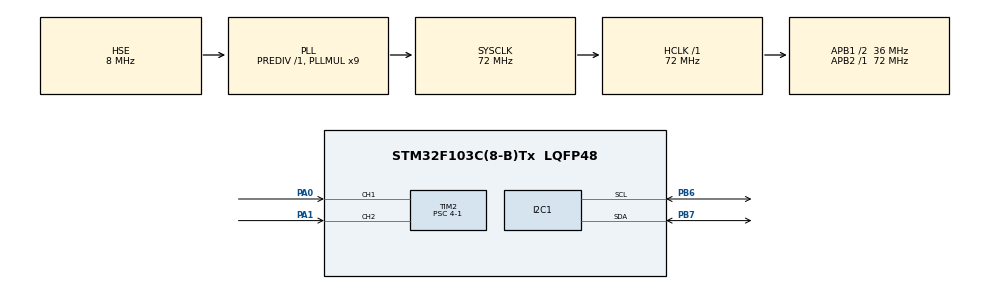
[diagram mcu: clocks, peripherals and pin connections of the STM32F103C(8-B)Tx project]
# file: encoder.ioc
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Mcu.Family=STM32F1
Mcu.Name=STM32F103C(8-B)Tx
Mcu.Package=LQFP48
NVIC.PriorityGroup=NVIC_PRIORITYGROUP_4
PA0-WKUP.GPIO_PuPd=GPIO_PULLUP
PA0-WKUP.Signal=S_TIM2_CH1_ETR
PA1.GPIO_PuPd=GPIO_PULLUP
PA1.Signal=S_TIM2_CH2
PA13.Mode=Serial_Wire
PA13.Signal=SYS_JTMS-SWDIO
PA14.Mode=Serial_Wire
PA14.Signal=SYS_JTCK-SWCLK
PB6.Mode=I2C
PB6.Signal=I2C1_SCL
PB7.Mode=I2C
PB7.Signal=I2C1_SDA
PD0-OSC_IN.Mode=HSE-External-Oscillator
PD0-OSC_IN.Signal=RCC_OSC_IN
PD1-OSC_OUT.Mode=HSE-External-Oscillator
PD1-OSC_OUT.Signal=RCC_OSC_OUT
ProjectManager.HeapSize=0x200
ProjectManager.StackSize=0x400
ProjectManager.TargetToolchain=SW4STM32
RCC.AHBFreq_Value=72000000
RCC.APB1CLKDivider=RCC_HCLK_DIV2
RCC.APB1Freq_Value=36000000
RCC.APB1TimFreq_Value=72000000
RCC.APB2Freq_Value=72000000
RCC.APB2TimFreq_Value=72000000
RCC.HCLKFreq_Value=72000000
RCC.PLLMUL=RCC_PLL_MUL9
RCC.PLLSourceVirtual=RCC_PLLSOURCE_HSE
RCC.SYSCLKFreq_VALUE=72000000
RCC.SYSCLKSource=RCC_SYSCLKSOURCE_PLLCLK
RCC.USBFreq_Value=72000000
SH.S_TIM2_CH1_ETR.0=TIM2_CH1,Encoder_Interface
SH.S_TIM2_CH2.0=TIM2_CH2,Encoder_Interface
TIM2.EncoderMode=TIM_ENCODERMODE_TI12
TIM2.Period=0xffff
TIM2.Prescaler=4-1
board=custom

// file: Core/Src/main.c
/* USER CODE BEGIN Header */
/**
  ******************************************************************************
  * @file           : main.c
  * @brief          : Main program body
  ******************************************************************************
  * @attention
  *
  * <h2><center>&copy; Copyright (c) 2021 STMicroelectronics.
  * All rights reserved.</center></h2>
  *
  * This software component is licensed by ST under BSD 3-Clause license,
  * the "License"; You may not use this file except in compliance with the
  * License. You may obtain a copy of the License at:
  *                        opensource.org/licenses/BSD-3-Clause
  *
  ******************************************************************************
  */
/* USER CODE END Header */
#include <stdio.h>
#include "main.h"
#include "i2c.h"
#include "tim.h"
#include "gpio.h"

/* USER CODE BEGIN Includes */
#include "u8g2.h"
#include "oled_init.h"
/* USER CODE END Includes */

void SystemClock_Config(void);

int main(void) {
    /* USER CODE BEGIN 1 */
    uint32_t enc1;
    u8g2_t u8g2;
    uint8_t dir;
    char str[50];
    /* USER CODE END 1 */

    /* MCU Configuration--------------------------------------------------------*/

    /* Reset of all peripherals, Initializes the Flash interface and the Systick. */
    HAL_Init();

    /* Configure the system clock */
    SystemClock_Config();

    /* Initialize all configured peripherals */
    MX_GPIO_Init();
    MX_TIM2_Init();
    MX_I2C1_Init();
    /* USER CODE BEGIN 2 */
    u8g2Init(&u8g2);
    HAL_TIM_Encoder_Start(&htim2, TIM_CHANNEL_ALL);
    /* USER CODE END 2 */

    /* Infinite loop */
    while (1) {

        /* USER CODE BEGIN 3 */
        enc1 = (uint32_t) (__HAL_TIM_GET_COUNTER(&htim2));//获取定时器的值
        dir = __HAL_TIM_IS_TIM_COUNTING_DOWN(&htim2);
        u8g2_ClearBuffer(&u8g2);
        u8g2_SetFont(&u8g2, u8g_font_5x8r);
        sprintf(str, "pulse： %d", (int) enc1);
        u8g2_DrawStr(&u8g2, 2, 10, str);
        sprintf(str, "dir： %s", dir?"-":"+");
        u8g2_DrawStr(&u8g2, 2, 20, str);
        u8g2_SendBuffer(&u8g2);

        HAL_Delay(10);
    }
    /* USER CODE END 3 */
}

void SystemClock_Config(void) {
    RCC_OscInitTypeDef RCC_OscInitStruct = {0};
    RCC_ClkInitTypeDef RCC_ClkInitStruct = {0};

    /** Initializes the RCC Oscillators according to the specified parameters
    * in the RCC_OscInitTypeDef structure.
    */
    RCC_OscInitStruct.OscillatorType = RCC_OSCILLATORTYPE_HSE;
    RCC_OscInitStruct.HSEState = RCC_HSE_ON;
    RCC_OscInitStruct.HSEPredivValue = RCC_HSE_PREDIV_DIV1;
    RCC_OscInitStruct.HSIState = RCC_HSI_ON;
    RCC_OscInitStruct.PLL.PLLState = RCC_PLL_ON;
    RCC_OscInitStruct.PLL.PLLSource = RCC_PLLSOURCE_HSE;
    RCC_OscInitStruct.PLL.PLLMUL = RCC_PLL_MUL9;
    if (HAL_RCC_OscConfig(&RCC_OscInitStruct) != HAL_OK) {
        Error_Handler();
    }
    /** Initializes the CPU, AHB and APB buses clocks
    */
    RCC_ClkInitStruct.ClockType = RCC_CLOCKTYPE_HCLK | RCC_CLOCKTYPE_SYSCLK
                                  | RCC_CLOCKTYPE_PCLK1 | RCC_CLOCKTYPE_PCLK2;
    RCC_ClkInitStruct.SYSCLKSource = RCC_SYSCLKSOURCE_PLLCLK;
    RCC_ClkInitStruct.AHBCLKDivider = RCC_SYSCLK_DIV1;
    RCC_ClkInitStruct.APB1CLKDivider = RCC_HCLK_DIV2;
    RCC_ClkInitStruct.APB2CLKDivider = RCC_HCLK_DIV1;

    if (HAL_RCC_ClockConfig(&RCC_ClkInitStruct, FLASH_LATENCY_2) != HAL_OK) {
        Error_Handler();
    }
}

void Error_Handler(void) {
    __disable_irq();
    while (1) {
    }
}

/************************ (C) COPYRIGHT STMicroelectronics *****END OF FILE****/
